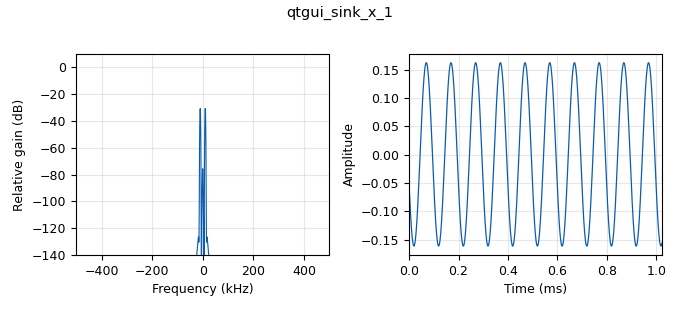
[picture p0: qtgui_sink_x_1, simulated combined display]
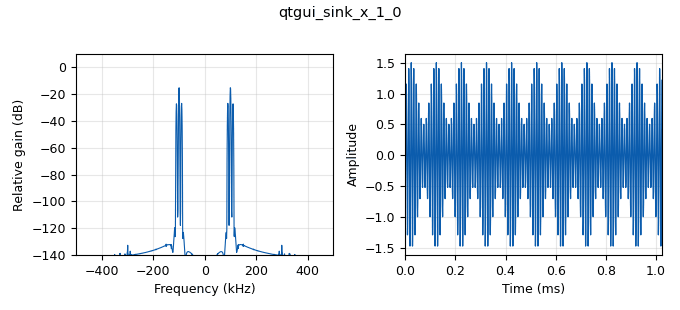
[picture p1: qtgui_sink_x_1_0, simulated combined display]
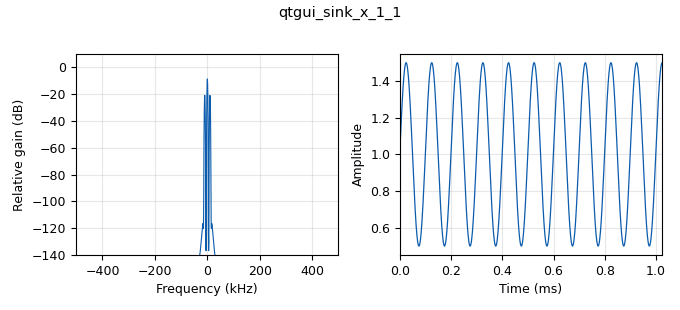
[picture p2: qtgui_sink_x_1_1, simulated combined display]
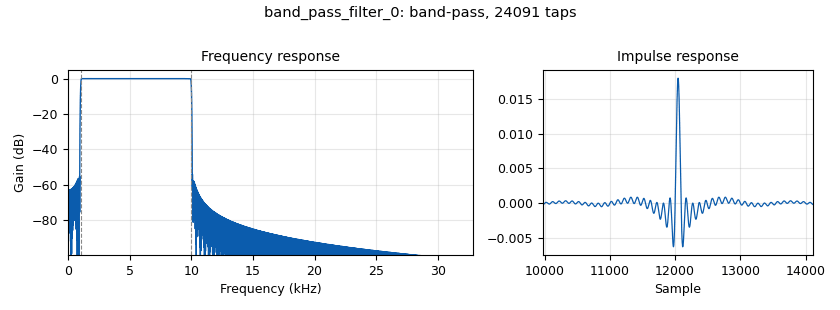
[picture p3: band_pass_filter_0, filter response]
<?xml version='1.0' encoding='utf-8'?>
<?grc format='1' created='3.7.9'?>
<flow_graph>
<block>
<key>options</key>
<param><key>id</key><value>top_block</value></param>
<param><key>category</key><value>Custom</value></param>
<param><key>generate_options</key><value>qt_gui</value></param>
</block>
<block>
<key>variable</key>
<param><key>id</key><value>samp_rate</value></param>
<param><key>value</key><value>1000000</value></param>
</block>
<block>
<key>analog_sig_source_x</key>
<param><key>id</key><value>analog_sig_source_x_0</value></param>
<param><key>amp</key><value>0.5</value></param>
<param><key>freq</key><value>10000</value></param>
<param><key>offset</key><value>1</value></param>
<param><key>type</key><value>float</value></param>
<param><key>samp_rate</key><value>samp_rate</value></param>
<param><key>waveform</key><value>analog.GR_COS_WAVE</value></param>
</block>
<block>
<key>analog_sig_source_x</key>
<param><key>id</key><value>analog_sig_source_x_1</value></param>
<param><key>amp</key><value>1</value></param>
<param><key>freq</key><value>100000</value></param>
<param><key>offset</key><value>0</value></param>
<param><key>type</key><value>float</value></param>
<param><key>samp_rate</key><value>samp_rate</value></param>
<param><key>waveform</key><value>analog.GR_COS_WAVE</value></param>
</block>
<block>
<key>band_pass_filter</key>
<param><key>id</key><value>band_pass_filter_0</value></param>
<param><key>type</key><value>interp_fir_filter_fff</value></param>
<param><key>gain</key><value>1</value></param>
<param><key>high_cutoff_freq</key><value>10000</value></param>
<param><key>interp</key><value>1</value></param>
<param><key>low_cutoff_freq</key><value>1000</value></param>
<param><key>samp_rate</key><value>samp_rate</value></param>
<param><key>width</key><value>100</value></param>
<param><key>win</key><value>firdes.WIN_HAMMING</value></param>
</block>
<block>
<key>blocks_abs_xx</key>
<param><key>id</key><value>blocks_abs_xx_0</value></param>
<param><key>type</key><value>float</value></param>
</block>
<block>
<key>blocks_multiply_xx</key>
<param><key>id</key><value>blocks_multiply_xx_0</value></param>
<param><key>type</key><value>float</value></param>
</block>
<block>
<key>blocks_throttle</key>
<param><key>id</key><value>blocks_throttle_0</value></param>
<param><key>samples_per_second</key><value>samp_rate</value></param>
<param><key>type</key><value>float</value></param>
</block>
<block>
<key>qtgui_sink_x</key>
<param><key>id</key><value>qtgui_sink_x_1</value></param>
<param><key>bw</key><value>samp_rate</value></param>
<param><key>fc</key><value>0</value></param>
<param><key>freqchangevar</key><value>None</value></param>
<param><key>fftsize</key><value>1024</value></param>
<param><key>showports</key><value>True</value></param>
<param><key>type</key><value>float</value></param>
<param><key>wintype</key><value>firdes.WIN_BLACKMAN_hARRIS</value></param>
</block>
<block>
<key>qtgui_sink_x</key>
<param><key>id</key><value>qtgui_sink_x_1_0</value></param>
<param><key>bw</key><value>samp_rate</value></param>
<param><key>fc</key><value>0</value></param>
<param><key>freqchangevar</key><value>None</value></param>
<param><key>fftsize</key><value>1024</value></param>
<param><key>showports</key><value>True</value></param>
<param><key>type</key><value>float</value></param>
<param><key>wintype</key><value>firdes.WIN_BLACKMAN_hARRIS</value></param>
</block>
<block>
<key>qtgui_sink_x</key>
<param><key>id</key><value>qtgui_sink_x_1_1</value></param>
<param><key>bw</key><value>samp_rate</value></param>
<param><key>fc</key><value>0</value></param>
<param><key>freqchangevar</key><value>None</value></param>
<param><key>fftsize</key><value>1024</value></param>
<param><key>showports</key><value>True</value></param>
<param><key>type</key><value>float</value></param>
<param><key>wintype</key><value>firdes.WIN_BLACKMAN_hARRIS</value></param>
</block>
<connection><source_block_id>analog_sig_source_x_0</source_block_id><sink_block_id>blocks_multiply_xx_0</sink_block_id><source_key>0</source_key><sink_key>0</sink_key></connection>
<connection><source_block_id>analog_sig_source_x_0</source_block_id><sink_block_id>qtgui_sink_x_1_1</sink_block_id><source_key>0</source_key><sink_key>0</sink_key></connection>
<connection><source_block_id>analog_sig_source_x_1</source_block_id><sink_block_id>blocks_multiply_xx_0</sink_block_id><source_key>0</source_key><sink_key>1</sink_key></connection>
<connection><source_block_id>band_pass_filter_0</source_block_id><sink_block_id>blocks_throttle_0</sink_block_id><source_key>0</source_key><sink_key>0</sink_key></connection>
<connection><source_block_id>blocks_abs_xx_0</source_block_id><sink_block_id>band_pass_filter_0</sink_block_id><source_key>0</source_key><sink_key>0</sink_key></connection>
<connection><source_block_id>blocks_multiply_xx_0</source_block_id><sink_block_id>blocks_abs_xx_0</sink_block_id><source_key>0</source_key><sink_key>0</sink_key></connection>
<connection><source_block_id>blocks_multiply_xx_0</source_block_id><sink_block_id>qtgui_sink_x_1_0</sink_block_id><source_key>0</source_key><sink_key>0</sink_key></connection>
<connection><source_block_id>blocks_throttle_0</source_block_id><sink_block_id>qtgui_sink_x_1</sink_block_id><source_key>0</source_key><sink_key>0</sink_key></connection>
</flow_graph>
